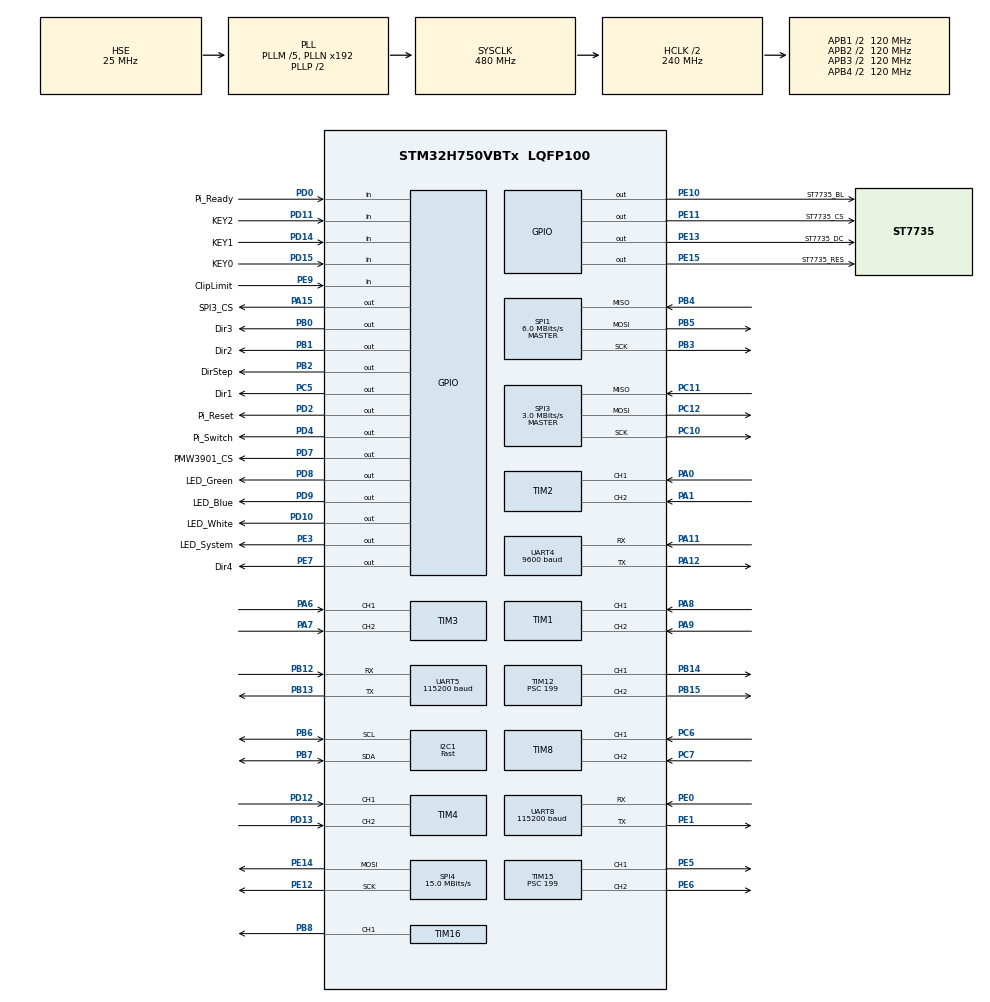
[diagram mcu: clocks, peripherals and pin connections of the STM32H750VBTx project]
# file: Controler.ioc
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CORTEX_M7.AccessPermission_Spec=MPU_REGION_NO_ACCESS
CORTEX_M7.BaseAddress_Spec=0x0
CORTEX_M7.CPU_DCache=Disabled
CORTEX_M7.CPU_ICache=Disabled
CORTEX_M7.DisableExec_Spec=MPU_INSTRUCTION_ACCESS_DISABLE
CORTEX_M7.Enable_S-Cortex_Memory_Protection_Unit_Region10_Settings_S=__NULL
CORTEX_M7.Enable_S-Cortex_Memory_Protection_Unit_Region11_Settings_S=__NULL
CORTEX_M7.Enable_S-Cortex_Memory_Protection_Unit_Region12_Settings_S=__NULL
CORTEX_M7.Enable_S-Cortex_Memory_Protection_Unit_Region13_Settings_S=__NULL
CORTEX_M7.Enable_S-Cortex_Memory_Protection_Unit_Region14_Settings_S=__NULL
CORTEX_M7.Enable_S-Cortex_Memory_Protection_Unit_Region15_Settings_S=__NULL
CORTEX_M7.Enable_S-Cortex_Memory_Protection_Unit_Region1_Settings_S=__NULL
CORTEX_M7.Enable_S-Cortex_Memory_Protection_Unit_Region2_Settings_S=__NULL
CORTEX_M7.Enable_S-Cortex_Memory_Protection_Unit_Region3_Settings_S=__NULL
CORTEX_M7.Enable_S-Cortex_Memory_Protection_Unit_Region4_Settings_S=__NULL
CORTEX_M7.Enable_S-Cortex_Memory_Protection_Unit_Region5_Settings_S=__NULL
CORTEX_M7.Enable_S-Cortex_Memory_Protection_Unit_Region6_Settings_S=__NULL
CORTEX_M7.Enable_S-Cortex_Memory_Protection_Unit_Region7_Settings_S=__NULL
CORTEX_M7.Enable_S-Cortex_Memory_Protection_Unit_Region8_Settings_S=__NULL
CORTEX_M7.Enable_S-Cortex_Memory_Protection_Unit_Region9_Settings_S=__NULL
CORTEX_M7.Enable_Spec=MPU_REGION_ENABLE
CORTEX_M7.IsBufferable_Spec=MPU_ACCESS_NOT_BUFFERABLE
CORTEX_M7.IsCacheable_Spec=MPU_ACCESS_NOT_CACHEABLE
CORTEX_M7.IsShareable_Spec=MPU_ACCESS_SHAREABLE
CORTEX_M7.MPU_Control=MPU_PRIVILEGED_DEFAULT
CORTEX_M7.Size_Spec=MPU_REGION_SIZE_4GB
CORTEX_M7.SubRegionDisable_Spec=0x87
CORTEX_M7.TypeExtField_Spec=MPU_TEX_LEVEL0
CORTEX_M7.default_mode_Activation=1
Dma.Request0=SPI4_TX
Dma.SPI4_TX.0.Direction=DMA_MEMORY_TO_PERIPH
Dma.SPI4_TX.0.EventEnable=DISABLE
Dma.SPI4_TX.0.FIFOMode=DMA_FIFOMODE_DISABLE
Dma.SPI4_TX.0.Instance=DMA1_Stream1
Dma.SPI4_TX.0.MemDataAlignment=DMA_MDATAALIGN_BYTE
Dma.SPI4_TX.0.MemInc=DMA_MINC_ENABLE
Dma.SPI4_TX.0.Mode=DMA_NORMAL
Dma.SPI4_TX.0.PeriphDataAlignment=DMA_PDATAALIGN_BYTE
Dma.SPI4_TX.0.PeriphInc=DMA_PINC_DISABLE
Dma.SPI4_TX.0.Polarity=HAL_DMAMUX_REQ_GEN_RISING
Dma.SPI4_TX.0.Priority=DMA_PRIORITY_LOW
Dma.SPI4_TX.0.RequestNumber=1
Dma.SPI4_TX.0.SignalID=NONE
Dma.SPI4_TX.0.SyncEnable=DISABLE
Dma.SPI4_TX.0.SyncPolarity=HAL_DMAMUX_SYNC_NO_EVENT
Dma.SPI4_TX.0.SyncRequestNumber=1
Dma.SPI4_TX.0.SyncSignalID=NONE
FREERTOS.BinarySemaphores01=bQueuePut,Dynamic,NULL
FREERTOS.Queues01=SensorMessageQueue,16,uint16_t,0,Dynamic,NULL,NULL
FREERTOS.Tasks01=IOcontrol,8,128,IOcontrolEntry,Default,NULL,Dynamic,NULL,NULL;SerialOutput,8,512,SerialOutputEntry,Default,NULL,Dynamic,NULL,NULL;StateMachine,8,512,StateMachineEntry,Default,NULL,Dynamic,NULL,NULL;ScreenRefresh,8,512,ScreenRefreshEntry,Default,NULL,Dynamic,NULL,NULL;SensorHandle,24,256,SensorHandleEntry,Default,NULL,Dynamic,NULL,NULL;InfCalOpticalTa,8,256,InfCalOpticalEntry,Default,NULL,Dynamic,NULL,NULL
FREERTOS.Timers01=KeyTimer,KeyTimerCallback,osTimerPeriodic,Default,NULL,Dynamic,NULL
I2C1.AddressingMode=I2C_ADDRESSINGMODE_7BIT
I2C1.Analog_Filter=I2C_ANALOGFILTER_ENABLE
I2C1.CustomTiming=Disabled
I2C1.DualAddressMode=I2C_DUALADDRESS_DISABLE
I2C1.GeneralCallMode=I2C_GENERALCALL_DISABLE
I2C1.I2C_Coeff_DF=0
I2C1.I2C_Fall_Time=0
I2C1.I2C_Rise_Time=0
I2C1.I2C_Speed_Mode=I2C_Fast
I2C1.NoStretchMode=I2C_NOSTRETCH_DISABLE
I2C1.OwnAddress=0
I2C1.Speed=400
I2C1.Timing=0x00B03FDB
Mcu.Family=STM32H7
Mcu.Name=STM32H750VBTx
Mcu.Package=LQFP100
NVIC.DMA1_Stream1_IRQn=true\:5\:0\:false\:false\:true\:true\:false\:true\:true
NVIC.PriorityGroup=NVIC_PRIORITYGROUP_4
NVIC.SPI4_IRQn=true\:5\:0\:false\:false\:true\:true\:false\:true\:true
NVIC.TIM17_IRQn=true\:15\:0\:false\:false\:true\:false\:true\:true\:true
NVIC.TIM6_DAC_IRQn=true\:5\:0\:false\:false\:true\:true\:true\:true\:true
NVIC.TimeBase=TIM17_IRQn
NVIC.TimeBaseIP=TIM17
NVIC.UART4_IRQn=true\:5\:0\:false\:false\:true\:true\:true\:true\:true
NVIC.UART5_IRQn=true\:5\:0\:false\:false\:true\:true\:true\:true\:true
PA0.Signal=S_TIM2_CH1_ETR
PA1.Signal=S_TIM2_CH2
PA11.Mode=Asynchronous
PA11.Signal=UART4_RX
PA12.Mode=Asynchronous
PA12.Signal=UART4_TX
PA13\ (JTMS/SWDIO).Mode=Serial_Wire
PA13\ (JTMS/SWDIO).Signal=DEBUG_JTMS-SWDIO
PA14\ (JTCK/SWCLK).Mode=Serial_Wire
PA14\ (JTCK/SWCLK).Signal=DEBUG_JTCK-SWCLK
PA15\ (JTDI).GPIO_Label=SPI3_CS
PA15\ (JTDI).Signal=GPIO_Output
PA6.Signal=S_TIM3_CH1
PA7.Signal=S_TIM3_CH2
PA8.Signal=S_TIM1_CH1
PA9.Signal=S_TIM1_CH2
PB0.GPIO_Label=Dir3
PB0.Signal=GPIO_Output
PB1.GPIO_Label=Dir2
PB1.Signal=GPIO_Output
PB12.Mode=Asynchronous
PB12.Signal=UART5_RX
PB13.Mode=Asynchronous
PB13.Signal=UART5_TX
PB14.Signal=S_TIM12_CH1
PB15.Signal=S_TIM12_CH2
PB2.GPIO_Label=DirStep
PB2.Signal=GPIO_Output
PB3\ (JTDO/TRACESWO).GPIO_PuPd=GPIO_PULLUP
PB3\ (JTDO/TRACESWO).GPIO_Speed=GPIO_SPEED_FREQ_VERY_HIGH
PB3\ (JTDO/TRACESWO).Mode=Full_Duplex_Master
PB3\ (JTDO/TRACESWO).Signal=SPI1_SCK
PB4\ (NJTRST).GPIO_PuPd=GPIO_PULLUP
PB4\ (NJTRST).GPIO_Speed=GPIO_SPEED_FREQ_VERY_HIGH
PB4\ (NJTRST).Mode=Full_Duplex_Master
PB4\ (NJTRST).Signal=SPI1_MISO
PB5.GPIO_PuPd=GPIO_PULLUP
PB5.GPIO_Speed=GPIO_SPEED_FREQ_VERY_HIGH
PB5.Mode=Full_Duplex_Master
PB5.Signal=SPI1_MOSI
PB6.Mode=I2C
PB6.Signal=I2C1_SCL
PB7.Mode=I2C
PB7.Signal=I2C1_SDA
PB8.Signal=S_TIM16_CH1
PC10.GPIO_Mode=GPIO_MODE_AF_PP
PC10.GPIO_PuPd=GPIO_PULLUP
PC10.GPIO_Speed=GPIO_SPEED_FREQ_VERY_HIGH
PC10.Mode=Full_Duplex_Master
PC10.Signal=SPI3_SCK
PC11.GPIO_PuPd=GPIO_PULLUP
PC11.GPIO_Speed=GPIO_SPEED_FREQ_VERY_HIGH
PC11.Mode=Full_Duplex_Master
PC11.Signal=SPI3_MISO
PC12.GPIO_PuPd=GPIO_PULLUP
PC12.GPIO_Speed=GPIO_SPEED_FREQ_VERY_HIGH
PC12.Mode=Full_Duplex_Master
PC12.Signal=SPI3_MOSI
PC5.GPIO_Label=Dir1
PC5.Signal=GPIO_Output
PC6.Signal=S_TIM8_CH1
PC7.Signal=S_TIM8_CH2
PD0.GPIO_Label=Pi_Ready
PD0.Signal=GPIO_Input
PD10.GPIO_Label=LED_White
PD10.Signal=GPIO_Output
PD11.GPIO_Label=KEY2
PD11.GPIO_PuPd=GPIO_PULLUP
PD11.Signal=GPIO_Input
PD12.Signal=S_TIM4_CH1
PD13.Signal=S_TIM4_CH2
PD14.GPIO_Label=KEY1
PD14.GPIO_PuPd=GPIO_PULLUP
PD14.Signal=GPIO_Input
PD15.GPIO_Label=KEY0
PD15.GPIO_PuPd=GPIO_PULLUP
PD15.Signal=GPIO_Input
PD2.GPIO_Label=Pi_Reset
PD2.GPIO_PuPd=GPIO_PULLDOWN
PD2.Signal=GPIO_Output
PD4.GPIO_Label=Pi_Switch
PD4.GPIO_PuPd=GPIO_PULLDOWN
PD4.Signal=GPIO_Output
PD7.GPIO_Label=PMW3901_CS
PD7.Signal=GPIO_Output
PD8.GPIO_Label=LED_Green
PD8.Signal=GPIO_Output
PD9.GPIO_Label=LED_Blue
PD9.Signal=GPIO_Output
PE0.Mode=Asynchronous
PE0.Signal=UART8_RX
PE1.Mode=Asynchronous
PE1.Signal=UART8_TX
PE10.GPIO_Label=ST7735_BL
PE10.Signal=GPIO_Output
PE11.GPIO_Label=ST7735_CS
PE11.Signal=GPIO_Output
PE12.GPIO_PuPd=GPIO_PULLUP
PE12.GPIO_Speed=GPIO_SPEED_FREQ_LOW
PE12.Mode=TX_Only_Simplex_Unidirect_Master
PE12.Signal=SPI4_SCK
PE13.GPIO_Label=ST7735_DC
PE13.Signal=GPIO_Output
PE14.GPIO_PuPd=GPIO_PULLUP
PE14.GPIO_Speed=GPIO_SPEED_FREQ_LOW
PE14.Mode=TX_Only_Simplex_Unidirect_Master
PE14.Signal=SPI4_MOSI
PE15.GPIO_Label=ST7735_RES
PE15.Signal=GPIO_Output
PE3.GPIO_Label=LED_System
PE3.Signal=GPIO_Output
PE5.Signal=S_TIM15_CH1
PE6.Signal=S_TIM15_CH2
PE7.GPIO_Label=Dir4
PE7.Signal=GPIO_Output
PE9.GPIO_Label=ClipLimit
PE9.GPIO_PuPd=GPIO_PULLDOWN
PE9.Signal=GPIO_Input
PH0-OSC_IN\ (PH0).Mode=HSE-External-Oscillator
PH0-OSC_IN\ (PH0).Signal=RCC_OSC_IN
PH1-OSC_OUT\ (PH1).Mode=HSE-External-Oscillator
PH1-OSC_OUT\ (PH1).Signal=RCC_OSC_OUT
ProjectManager.HeapSize=0x200
ProjectManager.StackSize=0x400
ProjectManager.TargetToolchain=STM32CubeIDE
RCC.ADCFreq_Value=50390625
RCC.APB1Freq_Value=120000000
RCC.APB2Freq_Value=120000000
RCC.APB3Freq_Value=120000000
RCC.APB4Freq_Value=120000000
RCC.CortexFreq_Value=480000000
RCC.D1PPRE=RCC_APB3_DIV2
RCC.D2PPRE1=RCC_APB1_DIV2
RCC.D2PPRE2=RCC_APB2_DIV2
RCC.D3PPRE=RCC_APB4_DIV2
RCC.DIVM1=5
RCC.DIVN1=192
RCC.DIVQ1=5
RCC.FLatency=FLASH_LATENCY_4
RCC.HCLKFreq_Value=240000000
RCC.HPRE=RCC_HCLK_DIV2
RCC.PLL1_VCI_Range=RCC_PLL1VCIRANGE_2
RCC.PLL2FRACN=0
RCC.PLL3FRACN=0
RCC.PLLFRACN=0
RCC.PLLSourceVirtual=RCC_PLLSOURCE_HSE
RCC.PWR_Regulator_Voltage_Scale=PWR_REGULATOR_VOLTAGE_SCALE0
RCC.SYSCLKFreq_VALUE=480000000
RCC.SYSCLKSource=RCC_SYSCLKSOURCE_PLLCLK
RCC.USBFreq_Value=192000000
SH.S_TIM12_CH1.0=TIM12_CH1,PWM Generation1 CH1
SH.S_TIM12_CH2.0=TIM12_CH2,PWM Generation2 CH2
SH.S_TIM15_CH1.0=TIM15_CH1,PWM Generation1 CH1
SH.S_TIM15_CH2.0=TIM15_CH2,PWM Generation2 CH2
SH.S_TIM16_CH1.0=TIM16_CH1,PWM Generation1 CH1
SH.S_TIM1_CH1.0=TIM1_CH1,Encoder_Interface
SH.S_TIM1_CH2.0=TIM1_CH2,Encoder_Interface
SH.S_TIM2_CH1_ETR.0=TIM2_CH1,Encoder_Interface
SH.S_TIM2_CH2.0=TIM2_CH2,Encoder_Interface
SH.S_TIM3_CH1.0=TIM3_CH1,Encoder_Interface
SH.S_TIM3_CH2.0=TIM3_CH2,Encoder_Interface
SH.S_TIM4_CH1.0=TIM4_CH1,Encoder_Interface
SH.S_TIM4_CH2.0=TIM4_CH2,Encoder_Interface
SH.S_TIM8_CH1.0=TIM8_CH1,Encoder_Interface
SH.S_TIM8_CH2.0=TIM8_CH2,Encoder_Interface
SPI1.BaudRatePrescaler=SPI_BAUDRATEPRESCALER_32
SPI1.CLKPhase=SPI_PHASE_2EDGE
SPI1.CLKPolarity=SPI_POLARITY_HIGH
SPI1.CalculateBaudRate=6.0 MBits/s
SPI1.DataSize=SPI_DATASIZE_8BIT
SPI1.Direction=SPI_DIRECTION_2LINES
SPI1.Mode=SPI_MODE_MASTER
SPI1.VirtualType=VM_MASTER
SPI3.BaudRatePrescaler=SPI_BAUDRATEPRESCALER_64
SPI3.CLKPhase=SPI_PHASE_2EDGE
SPI3.CLKPolarity=SPI_POLARITY_HIGH
SPI3.CRCCalculation=SPI_CRCCALCULATION_DISABLE
SPI3.CalculateBaudRate=3.0 MBits/s
SPI3.DataSize=SPI_DATASIZE_8BIT
SPI3.Direction=SPI_DIRECTION_2LINES
SPI3.FifoThreshold=SPI_FIFO_THRESHOLD_01DATA
SPI3.FirstBit=SPI_FIRSTBIT_MSB
SPI3.IOSwap=SPI_IO_SWAP_DISABLE
SPI3.MasterInterDataIdleness=SPI_MASTER_INTERDATA_IDLENESS_00CYCLE
SPI3.MasterKeepIOState=SPI_MASTER_KEEP_IO_STATE_ENABLE
SPI3.MasterReceiverAutoSusp=SPI_MASTER_RX_AUTOSUSP_DISABLE
SPI3.MasterSSIdleness=SPI_MASTER_SS_IDLENESS_00CYCLE
SPI3.Mode=SPI_MODE_MASTER
SPI3.NSS=SPI_NSS_SOFT
SPI3.NSSPMode=SPI_NSS_PULSE_ENABLE
SPI3.NSSPolarity=SPI_NSS_POLARITY_LOW
SPI3.RxCRCInitializationPattern=SPI_CRC_INITIALIZATION_ALL_ZERO_PATTERN
SPI3.TIMode=SPI_TIMODE_DISABLE
SPI3.TxCRCInitializationPattern=SPI_CRC_INITIALIZATION_ALL_ZERO_PATTERN
SPI3.VirtualType=VM_MASTER
SPI4.BaudRatePrescaler=SPI_BAUDRATEPRESCALER_8
SPI4.CLKPhase=SPI_PHASE_2EDGE
SPI4.CLKPolarity=SPI_POLARITY_HIGH
SPI4.CalculateBaudRate=15.0 MBits/s
SPI4.DataSize=SPI_DATASIZE_8BIT
SPI4.Direction=SPI_DIRECTION_2LINES_TXONLY
SPI4.MasterKeepIOState=SPI_MASTER_KEEP_IO_STATE_ENABLE
SPI4.Mode=SPI_MODE_MASTER
SPI4.VirtualType=VM_MASTER
TIM12.Channel-PWM\ Generation1\ CH1=TIM_CHANNEL_1
TIM12.Channel-PWM\ Generation2\ CH2=TIM_CHANNEL_2
TIM12.Period=99
TIM12.Prescaler=199
TIM15.Channel-PWM\ Generation1\ CH1=TIM_CHANNEL_1
TIM15.Channel-PWM\ Generation2\ CH2=TIM_CHANNEL_2
TIM15.Period=99
TIM15.Prescaler=199
TIM16.Channel=TIM_CHANNEL_1
TIM16.Period=99
TIM16.Prescaler=199
TIM6.AutoReloadPreload=TIM_AUTORELOAD_PRELOAD_ENABLE
TIM6.Period=999
TIM6.Prescaler=239
TIM8.EncoderMode=TIM_ENCODERMODE_TI1
UART4.AutoBaudRateEnableParam=UART_ADVFEATURE_AUTOBAUDRATE_DISABLE
UART4.BaudRate=9600
UART4.ClockPrescaler=PRESCALER_DIV1
UART4.DMADisableonRxErrorParam=UART_ADVFEATURE_DMA_ENABLEONRXERROR
UART4.DataInvertParam=UART_ADVFEATURE_DATAINV_DISABLE
UART4.FIFOMode=FIFOMODE_ENABLE
UART4.MSBFirstParam=UART_ADVFEATURE_MSBFIRST_DISABLE
UART4.Mode=MODE_TX_RX
UART4.OneBitSampling=UART_ONE_BIT_SAMPLE_DISABLE
UART4.OverSampling=UART_OVERSAMPLING_16
UART4.OverrunDisableParam=UART_ADVFEATURE_OVERRUN_ENABLE
UART4.Parity=PARITY_NONE
UART4.RXFIFOThreshold=RXFIFO_THRESHOLD_1EIGHTHFULL
UART4.RxPinLevelInvertParam=UART_ADVFEATURE_RXINV_DISABLE
UART4.StopBits=UART_STOPBITS_1
UART4.SwapParam=UART_ADVFEATURE_SWAP_DISABLE
UART4.TXFIFOThreshold=TXFIFO_THRESHOLD_1EIGHTHFULL
UART4.TxPinLevelInvertParam=UART_ADVFEATURE_TXINV_DISABLE
UART4.WordLength=WORDLENGTH_8B
UART5.AutoBaudRateEnableParam=UART_ADVFEATURE_AUTOBAUDRATE_DISABLE
UART5.BaudRate=115200
UART5.ClockPrescaler=PRESCALER_DIV1
UART5.DMADisableonRxErrorParam=UART_ADVFEATURE_DMA_ENABLEONRXERROR
UART5.DataInvertParam=UART_ADVFEATURE_DATAINV_DISABLE
UART5.FIFOMode=FIFOMODE_DISABLE
UART5.MSBFirstParam=UART_ADVFEATURE_MSBFIRST_DISABLE
UART5.Mode=MODE_TX_RX
UART5.OneBitSampling=UART_ONE_BIT_SAMPLE_DISABLE
UART5.OverSampling=UART_OVERSAMPLING_16
UART5.OverrunDisableParam=UART_ADVFEATURE_OVERRUN_ENABLE
UART5.Parity=PARITY_NONE
UART5.RXFIFOThreshold=RXFIFO_THRESHOLD_1EIGHTHFULL
UART5.RxPinLevelInvertParam=UART_ADVFEATURE_RXINV_DISABLE
UART5.StopBits=UART_STOPBITS_1
UART5.SwapParam=UART_ADVFEATURE_SWAP_DISABLE
UART5.TXFIFOThreshold=TXFIFO_THRESHOLD_1EIGHTHFULL
UART5.TxPinLevelInvertParam=UART_ADVFEATURE_TXINV_DISABLE
UART5.WordLength=WORDLENGTH_8B
UART8.AutoBaudRateEnableParam=UART_ADVFEATURE_AUTOBAUDRATE_DISABLE
UART8.BaudRate=115200
UART8.ClockPrescaler=PRESCALER_DIV1
UART8.DMADisableonRxErrorParam=UART_ADVFEATURE_DMA_ENABLEONRXERROR
UART8.DataInvertParam=UART_ADVFEATURE_DATAINV_DISABLE
UART8.FIFOMode=FIFOMODE_DISABLE
UART8.MSBFirstParam=UART_ADVFEATURE_MSBFIRST_DISABLE
UART8.Mode=MODE_TX_RX
UART8.OneBitSampling=UART_ONE_BIT_SAMPLE_DISABLE
UART8.OverSampling=UART_OVERSAMPLING_16
UART8.OverrunDisableParam=UART_ADVFEATURE_OVERRUN_ENABLE
UART8.Parity=PARITY_NONE
UART8.RXFIFOThreshold=RXFIFO_THRESHOLD_1EIGHTHFULL
UART8.RxPinLevelInvertParam=UART_ADVFEATURE_RXINV_DISABLE
UART8.StopBits=UART_STOPBITS_1
UART8.SwapParam=UART_ADVFEATURE_SWAP_DISABLE
UART8.TXFIFOThreshold=TXFIFO_THRESHOLD_1EIGHTHFULL
UART8.TxPinLevelInvertParam=UART_ADVFEATURE_TXINV_DISABLE
UART8.WordLength=WORDLENGTH_8B
VP_FREERTOS_VS_CMSIS_V2.Mode=CMSIS_V2
VP_SYS_VS_tim17.Mode=TIM17
VP_TIM12_VS_ClockSourceINT.Mode=Internal
VP_TIM15_VS_ClockSourceINT.Mode=Internal
VP_TIM16_VS_ClockSourceINT.Mode=Enable_Timer
VP_TIM6_VS_ClockSourceINT.Mode=Enable_Timer
board=custom

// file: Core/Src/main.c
/* USER CODE BEGIN Header */
/**
  ******************************************************************************
  * @file           : main.c
  * @brief          : Main program body
  ******************************************************************************
  * @attention
  *
  * Copyright (c) 2022 STMicroelectronics.
  * All rights reserved.
  *
  * This software is licensed under terms that can be found in the LICENSE file
  * in the root directory of this software component.
  * If no LICENSE file comes with this software, it is provided AS-IS.
  *
  ******************************************************************************
  */
/* USER CODE END Header */
#include "main.h"
#include "cmsis_os.h"
#include "dma.h"
#include "i2c.h"
#include "spi.h"
#include "tim.h"
#include "usart.h"
#include "gpio.h"

/* USER CODE BEGIN Includes */
#include "move.h"
#include "motor.h"
#include "utils.h"
#include "printf.h"
#include "PID/pid.h"
#include "imuFusion/imuFusion.h"
#include "LobotSerialServo/LobotSerialServo.h"
#include "utils.h"
/* USER CODE END Includes */

/* USER CODE BEGIN PV */

//Shell variables
char shBuff[256];
char chBuff;
int slot = 0;

extern uint8_t data_recv;
/* USER CODE END PV */

void SystemClock_Config(void);
static void MPU_Config(void);
void MX_FREERTOS_Init(void);
/* USER CODE BEGIN PFP */
void _putchar(char character) {
    HAL_UART_Transmit(&huart5, (uint8_t *) &character, 1, HAL_MAX_DELAY);
}

extern short uart_charPut(char *data, unsigned short len);
/* USER CODE END PFP */

int main(void)
{

  /* MPU Configuration--------------------------------------------------------*/
  MPU_Config();

  /* MCU Configuration--------------------------------------------------------*/

  /* Reset of all peripherals, Initializes the Flash interface and the Systick. */
  HAL_Init();

  /* Configure the system clock */
  SystemClock_Config();

  /* Initialize all configured peripherals */
  MX_GPIO_Init();
  MX_DMA_Init();
  MX_SPI3_Init();
  MX_UART5_Init();
  MX_UART8_Init();
  MX_I2C1_Init();
  MX_UART4_Init();
  MX_TIM2_Init();
  MX_TIM4_Init();
  MX_TIM16_Init();
  MX_TIM3_Init();
  MX_SPI4_Init();
  MX_TIM1_Init();
  MX_TIM8_Init();
  MX_SPI1_Init();
  MX_TIM15_Init();
  MX_TIM6_Init();
  MX_TIM12_Init();
  /* USER CODE BEGIN 2 */

    // Encoders initialization
    HAL_TIM_Encoder_Start(&htim1, TIM_CHANNEL_1);
    HAL_TIM_Encoder_Start(&htim1, TIM_CHANNEL_2);
    HAL_TIM_Encoder_Start(&htim2, TIM_CHANNEL_1);
    HAL_TIM_Encoder_Start(&htim2, TIM_CHANNEL_2);
    HAL_TIM_Encoder_Start(&htim3, TIM_CHANNEL_1);
    HAL_TIM_Encoder_Start(&htim3, TIM_CHANNEL_2);
    HAL_TIM_Encoder_Start(&htim4, TIM_CHANNEL_1);
    HAL_TIM_Encoder_Start(&htim4, TIM_CHANNEL_2);
    HAL_TIM_Encoder_Start(&htim8, TIM_CHANNEL_1);
    HAL_TIM_Encoder_Start(&htim8, TIM_CHANNEL_2);

    // Motors initialization
    HAL_TIM_PWM_Start(&htim12, TIM_CHANNEL_1);
    HAL_TIM_PWM_Start(&htim12, TIM_CHANNEL_2);
    HAL_TIM_PWM_Start(&htim15, TIM_CHANNEL_1);
    HAL_TIM_PWM_Start(&htim15, TIM_CHANNEL_2);
    HAL_TIM_PWM_Start(&htim16, TIM_CHANNEL_1);

    // Guide motor initialization
    PID_Init(&CarInfo.msPid[4], 8, 0.45f, 0);//0, 0.2, 0,
    PID_Init(&CarInfo.mpPid[4], 0.15f, 0, 0);// 0.033, 0, 0,

    // Wait for peripherals to be powered
    HAL_Delay(1000);

    //Serial shell initialization
    shell.write = uart_charPut;
    shellInit(&shell, shBuff, 256);

    //Interrupt initialization
    HAL_TIM_Base_Start_IT(&htim6);
    HAL_UART_Receive_IT(&huart5, (uint8_t *) &chBuff, 1);
    HAL_UART_Receive_IT(&huart4,&data_recv,1);

    //Clip initialization
    CarInfo.mpPid[4].ctr.aim = -10000;
    while (CarInfo.mpPid[4].ctr.aim != TopHeight);
    HAL_Delay(300);

    SupportRotation(Store_Angle, 500);
//    SupportRotation(Ground_Angle, 500);
    ClipRotition(CLIP_CLOSE, 700);
    StoreRotation(SecondDegree);

    //TODO:位置环测试用PID
    for (int i = 0; i < 4; i++) {
        PID_Init(&CarInfo.msPid[i], 8, 0.45f, 0);//0, 0.2, 0,
        PID_Init(&CarInfo.mpPid[i], 0.15f, 0, 0);// 0.033, 0, 0,
    }

    PID_Init(&CarInfo.cpPidX, 0.8f, 0, 0);
    PID_Init(&CarInfo.cpPidY, 0.8f, 0, 0);
    PID_Init(&CarInfo.avPid, 0.2f, 0.005f, 0);
    PID_Init(&CarInfo.aPid, 10, 0, 0);

    CarInfo.spdX = 0;
    CarInfo.spdY = 0;

    CarInfo.Start_State = true;

  /* USER CODE END 2 */

  /* Init scheduler */
  osKernelInitialize();  /* Call init function for freertos objects (in freertos.c) */
  MX_FREERTOS_Init();

  /* Start scheduler */
  osKernelStart();
  /* We should never get here as control is now taken by the scheduler */
  /* Infinite loop */
  /* USER CODE BEGIN WHILE */
    while (1) {
        if(slot != 0){
            MaterialPutFromHAL(slot,false);
            MaterialGetFromHAL(slot);
            slot = 0;
        }
    /* USER CODE END WHILE */

    }
}

void SystemClock_Config(void)
{
  RCC_OscInitTypeDef RCC_OscInitStruct = {0};
  RCC_ClkInitTypeDef RCC_ClkInitStruct = {0};

  /** Supply configuration update enable
  */
  HAL_PWREx_ConfigSupply(PWR_LDO_SUPPLY);

  /** Configure the main internal regulator output voltage
  */
  __HAL_PWR_VOLTAGESCALING_CONFIG(PWR_REGULATOR_VOLTAGE_SCALE0);

  while(!__HAL_PWR_GET_FLAG(PWR_FLAG_VOSRDY)) {}

  /** Initializes the RCC Oscillators according to the specified parameters
  * in the RCC_OscInitTypeDef structure.
  */
  RCC_OscInitStruct.OscillatorType = RCC_OSCILLATORTYPE_HSE;
  RCC_OscInitStruct.HSEState = RCC_HSE_ON;
  RCC_OscInitStruct.PLL.PLLState = RCC_PLL_ON;
  RCC_OscInitStruct.PLL.PLLSource = RCC_PLLSOURCE_HSE;
  RCC_OscInitStruct.PLL.PLLM = 5;
  RCC_OscInitStruct.PLL.PLLN = 192;
  RCC_OscInitStruct.PLL.PLLP = 2;
  RCC_OscInitStruct.PLL.PLLQ = 5;
  RCC_OscInitStruct.PLL.PLLR = 2;
  RCC_OscInitStruct.PLL.PLLRGE = RCC_PLL1VCIRANGE_2;
  RCC_OscInitStruct.PLL.PLLVCOSEL = RCC_PLL1VCOWIDE;
  RCC_OscInitStruct.PLL.PLLFRACN = 0;
  if (HAL_RCC_OscConfig(&RCC_OscInitStruct) != HAL_OK)
  {
    Error_Handler();
  }

  /** Initializes the CPU, AHB and APB buses clocks
  */
  RCC_ClkInitStruct.ClockType = RCC_CLOCKTYPE_HCLK|RCC_CLOCKTYPE_SYSCLK
                              |RCC_CLOCKTYPE_PCLK1|RCC_CLOCKTYPE_PCLK2
                              |RCC_CLOCKTYPE_D3PCLK1|RCC_CLOCKTYPE_D1PCLK1;
  RCC_ClkInitStruct.SYSCLKSource = RCC_SYSCLKSOURCE_PLLCLK;
  RCC_ClkInitStruct.SYSCLKDivider = RCC_SYSCLK_DIV1;
  RCC_ClkInitStruct.AHBCLKDivider = RCC_HCLK_DIV2;
  RCC_ClkInitStruct.APB3CLKDivider = RCC_APB3_DIV2;
  RCC_ClkInitStruct.APB1CLKDivider = RCC_APB1_DIV2;
  RCC_ClkInitStruct.APB2CLKDivider = RCC_APB2_DIV2;
  RCC_ClkInitStruct.APB4CLKDivider = RCC_APB4_DIV2;

  if (HAL_RCC_ClockConfig(&RCC_ClkInitStruct, FLASH_LATENCY_4) != HAL_OK)
  {
    Error_Handler();
  }
}

/* MPU Configuration */

void MPU_Config(void)
{
  MPU_Region_InitTypeDef MPU_InitStruct = {0};

  /* Disables the MPU */
  HAL_MPU_Disable();

  /** Initializes and configures the Region and the memory to be protected
  */
  MPU_InitStruct.Enable = MPU_REGION_ENABLE;
  MPU_InitStruct.Number = MPU_REGION_NUMBER0;
  MPU_InitStruct.BaseAddress = 0x0;
  MPU_InitStruct.Size = MPU_REGION_SIZE_4GB;
  MPU_InitStruct.SubRegionDisable = 0x87;
  MPU_InitStruct.TypeExtField = MPU_TEX_LEVEL0;
  MPU_InitStruct.AccessPermission = MPU_REGION_NO_ACCESS;
  MPU_InitStruct.DisableExec = MPU_INSTRUCTION_ACCESS_DISABLE;
  MPU_InitStruct.IsShareable = MPU_ACCESS_SHAREABLE;
  MPU_InitStruct.IsCacheable = MPU_ACCESS_NOT_CACHEABLE;
  MPU_InitStruct.IsBufferable = MPU_ACCESS_NOT_BUFFERABLE;

  HAL_MPU_ConfigRegion(&MPU_InitStruct);
  /* Enables the MPU */
  HAL_MPU_Enable(MPU_PRIVILEGED_DEFAULT);

}

void HAL_TIM_PeriodElapsedCallback(TIM_HandleTypeDef *htim)
{
  /* USER CODE BEGIN Callback 0 */

    //1kHz interrupt
    if (htim->Instance == TIM6) {
        static int16_t preCNT[5];

        // Check Clip limit
        if (HAL_GPIO_ReadPin(ClipLimit_GPIO_Port, ClipLimit_Pin) == GPIO_PIN_SET) {
            PID_Reset(&CarInfo.mpPid[4]);
            PID_Reset(&CarInfo.msPid[4]);
            CarInfo.psi[4] = 0;
            CarInfo.mpPid[4].ctr.aim = TopHeight;
        }

        static int cnt = 0;
        const int period = 10;
        //100Hz interrupt
        if (++cnt == period) {
            cnt = 0;

            // Get motor speed
            for (int16_t i = 0; i < 5; i++) {
                TIM_TypeDef *TIMptr[5] = {TIM8, TIM1, TIM4, TIM2, TIM3};
                int16_t res = 0;
                if (i == 1 || i == 2 || i == 3)
                    CarInfo.spd[i] = -1 * ((int16_t) (TIMptr[i]->CNT) - preCNT[i]);
                else
                    CarInfo.spd[i] = (int16_t) ((TIMptr[i]->CNT) - preCNT[i]);
                preCNT[i] = (int16_t) (TIMptr[i]->CNT);
            }

            // Get Motor Position
            for (int i = 0; i < 5; i++)
                CarInfo.psi[i] += (float)CarInfo.spd[i];

            // Map PID
            if (CarInfo.cPsiCtr && !CarInfo.mPsiCtr) {
                Slew_Func(&CarInfo.cpPidY.ctr.aim,CarInfo.tarY,0.6f);
                Slew_Func(&CarInfo.cpPidX.ctr.aim,CarInfo.tarX,0.6f);

                CarInfo.spdX = PID_Realize(&CarInfo.cpPidX, CarInfo.curX);
                CarInfo.spdY = PID_Realize(&CarInfo.cpPidY, CarInfo.curY);

                //Output dead band
                CarInfo.spdX = (fabs(CarInfo.spdX) < 1.6) ? 0 : CarInfo.spdX;
                CarInfo.spdY = (fabs(CarInfo.spdY) < 1.6) ? 0 : CarInfo.spdY;

//                Slew_Func(&CarInfo.spdX,CarInfo.spdX,0.2f);
//                Slew_Func(&CarInfo.spdY,CarInfo.spdY,0.2f);

                //Speed output limit
                int temp = 40;
                CarInfo.spdX = CarInfo.spdX > temp ? temp : CarInfo.spdX < -temp ? -temp : CarInfo.spdX;
                CarInfo.spdY = CarInfo.spdY > temp ? temp : CarInfo.spdY < -temp ? -temp : CarInfo.spdY;

                MapSpeedSet(CarInfo.spdY, CarInfo.spdX);
            }

            CarInfo.psiX+= CarInfo.spdX*0.01f;
            CarInfo.psiY+= CarInfo.spdY*0.01f;

            //Orientation loop
            Slew_Func(&CarInfo.avPidOut,PID_RealizeForAngle(&CarInfo.aPid, CarInfo.yaw),0.2f);

            //Speed limit
            float temp = 20;
            CarInfo.avPidOut = CarInfo.avPidOut > temp ? temp : CarInfo.avPidOut < -temp ? -temp : CarInfo.avPidOut;

            // Motor PID
            for (int i = 0; i < 5; i++) {
                volatile uint8_t dir = 1;

                // Optional position loop for guide motor
                if (i == 4 || CarInfo.mPsiCtr) {
                    CarInfo.spdStep = 0.5f;
                    float *outPtr = &CarInfo.mpPIDout[i];
                    float res = PID_Realize(&CarInfo.mpPid[i], CarInfo.psi[i]);

                    // Limit acceleration
                    if (res > *outPtr && res > 0 && HAL_GPIO_ReadPin(ClipLimit_GPIO_Port, ClipLimit_Pin) == GPIO_PIN_RESET)
                        *outPtr = res - *outPtr > CarInfo.spdStep ? *outPtr + CarInfo.spdStep : *outPtr;
                    else if (res < *outPtr && res < 0 && HAL_GPIO_ReadPin(ClipLimit_GPIO_Port, ClipLimit_Pin) == GPIO_PIN_RESET)
                        *outPtr = *outPtr - res > CarInfo.spdStep ? *outPtr - CarInfo.spdStep : *outPtr;
                    else *outPtr = res;

                    // Limit speed max
                    if (CarInfo.mpPIDout[i] > CarInfo.spdLimit[i])CarInfo.mpPIDout[i] = CarInfo.spdLimit[i];
                    if (CarInfo.mpPIDout[i] < -CarInfo.spdLimit[i])CarInfo.mpPIDout[i] = -CarInfo.spdLimit[i];
                }

                // Merge Motor Position PID and Attitude PID output
                switch (i) {
                    case 1:
                    case 2:
                        CarInfo.msPid[i].ctr.aim =
                                (CarInfo.mPsiCtr ? CarInfo.mpPIDout[i] : CarInfo.spdAim[i]) + CarInfo.avPidOut;
                        break;
                    case 0:
                    case 3:
                        CarInfo.msPid[i].ctr.aim =
                                (CarInfo.mPsiCtr ? CarInfo.mpPIDout[i] : CarInfo.spdAim[i]) - CarInfo.avPidOut;
                        break;
                    case 4:
                        CarInfo.msPid[i].ctr.aim = CarInfo.mpPIDout[i];
                        break;
                }

                // Motor Speed Loop
                float duty = PID_Realize(&CarInfo.msPid[i], (float) CarInfo.spd[i]);
                if (duty < 0) {
                    duty = -duty;
                    dir = 0;
                }
                Motor_Drive(i, duty, dir);
            }

            // Judge whether the car is static
            if (CarInfo.spd[0] != 0
                && CarInfo.spd[1] != 0
                && CarInfo.spd[2] != 0
                && CarInfo.spd[3] != 0)
                CarInfo.isCarMoving = CarInfo.isCarMoving << 1 | 1;
            else
                CarInfo.isCarMoving = CarInfo.isCarMoving << 1;
        }
    }
  /* USER CODE END Callback 0 */
  if (htim->Instance == TIM17) {
    HAL_IncTick();
  }
}

void Error_Handler(void)
{
    __disable_irq();
    while (1) {
    }
}

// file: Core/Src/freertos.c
/* USER CODE BEGIN Header */
/**
  ******************************************************************************
  * File Name          : freertos.c
  * Description        : Code for freertos applications
  ******************************************************************************
  * @attention
  *
  * Copyright (c) 2022 STMicroelectronics.
  * All rights reserved.
  *
  * This software is licensed under terms that can be found in the LICENSE file
  * in the root directory of this software component.
  * If no LICENSE file comes with this software, it is provided AS-IS.
  *
  ******************************************************************************
  */
/* USER CODE END Header */

#include "FreeRTOS.h"
#include "task.h"
#include "main.h"
#include "cmsis_os.h"

/* USER CODE BEGIN Includes */
#include "utils.h"
#include "printf.h"
#include "Compass/QMC5883L.h"
#include "ST7735-HAL/st7735.h"
#include "LobotSerialServo/LobotSerialServo.h"
#include "Filter/filter.h"
/* USER CODE END Includes */

/* Definitions for IOcontrol */
osThreadId_t IOcontrolHandle;
const osThreadAttr_t IOcontrol_attributes = {
  .name = "IOcontrol",
  .stack_size = 128 * 4,
  .priority = (osPriority_t) osPriorityLow,
};
/* Definitions for SerialOutput */
osThreadId_t SerialOutputHandle;
const osThreadAttr_t SerialOutput_attributes = {
  .name = "SerialOutput",
  .stack_size = 512 * 4,
  .priority = (osPriority_t) osPriorityLow,
};
/* Definitions for StateMachine */
osThreadId_t StateMachineHandle;
const osThreadAttr_t StateMachine_attributes = {
  .name = "StateMachine",
  .stack_size = 512 * 4,
  .priority = (osPriority_t) osPriorityLow,
};
/* Definitions for ScreenRefresh */
osThreadId_t ScreenRefreshHandle;
const osThreadAttr_t ScreenRefresh_attributes = {
  .name = "ScreenRefresh",
  .stack_size = 512 * 4,
  .priority = (osPriority_t) osPriorityLow,
};
/* Definitions for SensorHandle */
osThreadId_t SensorHandleHandle;
const osThreadAttr_t SensorHandle_attributes = {
  .name = "SensorHandle",
  .stack_size = 256 * 4,
  .priority = (osPriority_t) osPriorityNormal,
};
/* Definitions for InfCalOpticalTa */
osThreadId_t InfCalOpticalTaHandle;
const osThreadAttr_t InfCalOpticalTa_attributes = {
  .name = "InfCalOpticalTa",
  .stack_size = 256 * 4,
  .priority = (osPriority_t) osPriorityLow,
};
/* Definitions for SensorMessageQueue */
osMessageQueueId_t SensorMessageQueueHandle;
const osMessageQueueAttr_t SensorMessageQueue_attributes = {
  .name = "SensorMessageQueue"
};
/* Definitions for KeyTimer */
osTimerId_t KeyTimerHandle;
const osTimerAttr_t KeyTimer_attributes = {
  .name = "KeyTimer"
};
/* Definitions for bQueuePut */
osSemaphoreId_t bQueuePutHandle;
const osSemaphoreAttr_t bQueuePut_attributes = {
  .name = "bQueuePut"
};

/* USER CODE BEGIN FunctionPrototypes */

static void u8ZeroFiller(uint8_t *data);

/* USER CODE END FunctionPrototypes */

void IOcontrolEntry(void *argument);
void SerialOutputEntry(void *argument);
void StateMachineEntry(void *argument);
void ScreenRefreshEntry(void *argument);
void SensorHandleEntry(void *argument);
void InfCalOpticalEntry(void *argument);
void KeyTimerCallback(void *argument);

void MX_FREERTOS_Init(void); /* (MISRA C 2004 rule 8.1) */

void MX_FREERTOS_Init(void) {

  /* Create the semaphores(s) */
  /* creation of bQueuePut */
  bQueuePutHandle = osSemaphoreNew(1, 1, &bQueuePut_attributes);

  /* Create the timer(s) */
  /* creation of KeyTimer */
  KeyTimerHandle = osTimerNew(KeyTimerCallback, osTimerPeriodic, NULL, &KeyTimer_attributes);

  /* Create the queue(s) */
  /* creation of SensorMessageQueue */

  /* Create the thread(s) */
  /* creation of IOcontrol */
  IOcontrolHandle = osThreadNew(IOcontrolEntry, NULL, &IOcontrol_attributes);

  /* creation of SerialOutput */
  SerialOutputHandle = osThreadNew(SerialOutputEntry, NULL, &SerialOutput_attributes);

  /* creation of StateMachine */
  StateMachineHandle = osThreadNew(StateMachineEntry, NULL, &StateMachine_attributes);

}

void IOcontrolEntry(void *argument)
{
  /* USER CODE BEGIN IOcontrolEntry */
    UNUSED(argument);
    /* Infinite loop */
    for (;;) {
        HAL_GPIO_WritePin(LED_System_GPIO_Port, LED_System_Pin, 1);
        osDelay(50);
        HAL_GPIO_WritePin(LED_System_GPIO_Port, LED_System_Pin, 0);
        osDelay(950);
        if (CarInfo.SerialOutputEnable)osThreadResume(SerialOutputHandle);
    }
  /* USER CODE END IOcontrolEntry */
}

void SerialOutputEntry(void *argument)
{
  /* USER CODE BEGIN SerialOutputEntry */
    UNUSED(argument);
    /* Infinite loop */
    for (;;) {
        if (!CarInfo.SerialOutputEnable)osThreadSuspend(SerialOutputHandle);
    }
  /* USER CODE END SerialOutputEntry */
}

void StateMachineEntry(void *argument)
{
  /* USER CODE BEGIN StateMachineEntry */
    UNUSED(argument);
    /* Infinite loop */
    for (;;) {
        if (CarInfo.Start_State) {
            CarInfo.RunMainState();
        }
    }
  /* USER CODE END StateMachineEntry */
}

void ScreenRefreshEntry(void *argument)
{
  /* USER CODE BEGIN ScreenRefreshEntry */
    UNUSED(argument);
    /* Infinite loop */
    for (;;) {
        char buff[64];
        static uint32_t pretick = 0;
        static float psiX = 0, psiY = 0;
        float fps = 1000.0f / (HAL_GetTick() - pretick);

        pretick = HAL_GetTick();
        sprintf(buff, "FPS:%.3f\n", fps);
        LCD_StringLayout(128, buff, Font_7x10, ST7735_BLACK, ST7735_WHITE);

        sprintf(buff, CarInfo.yaw > 0 ? "Yaw: %.3f\n" : "Yaw:%.3f\n", ToDig(CarInfo.yaw));
        LCD_StringLayout(128, buff, Font_11x18, ST7735_BLACK, ST7735_WHITE);

        sprintf(buff, "pmwX:%.3f\n", CarInfo.curX);
        LCD_StringLayout(128, buff, Font_11x18, ST7735_BLACK, ST7735_WHITE);
        sprintf(buff, "pmwY:%.3f\n", CarInfo.curY);
        LCD_StringLayout(128, buff, Font_11x18, ST7735_BLACK, ST7735_WHITE);

        sprintf(buff, "psiX:%.3f\n", CarInfo.psiX);
        LCD_StringLayout(128, buff, Font_11x18, ST7735_BLACK, ST7735_WHITE);
        sprintf(buff, "psiY:%.3f\n", CarInfo.psiY);
        LCD_StringLayout(128, buff, Font_11x18, ST7735_BLACK, ST7735_WHITE);

        // End of page
        LCD_StringLayout(LCD_EOP);
    }
  /* USER CODE END ScreenRefreshEntry */
}

void SensorHandleEntry(void *argument)
{
  /* USER CODE BEGIN SensorHandleEntry */
    UNUSED(argument);
    /* Infinite loop */
    for (;;) {
        static enum SensorType {
            sCompass,
            sGyro,
            sOptical,
        } SensorType;
        static MovingFilter_t gyroFilter = {0};

        switch (SensorType) {
            case sCompass:
                taskENTER_CRITICAL();
                QMC5883_GetData(&CarInfo.hmc);
                VecRotate(CarInfo.hmc.Mx, CarInfo.hmc.My, CarInfo.initYawOffset);

                // Gyro integration to obtain angle
                CarInfo.yaw += ToRad(CarInfo.icm.gz) * 1.2f * 0.001f;

                taskEXIT_CRITICAL();
                break;
            case sGyro:
                taskENTER_CRITICAL();
                ICM42605_GetData(&CarInfo.icm, ICM_MODE_ACC | ICM_MODE_GYRO);
                CarInfo.icm.gz = Filter_MovingAvgf(&gyroFilter, CarInfo.icm.gz) - CarInfo.initGzOffset;
                taskEXIT_CRITICAL();
                break;
            case sOptical:
                taskENTER_CRITICAL();
                PMW3901_Read_Data(&CarInfo.pmw);
                CarInfo.dx = (float) -CarInfo.pmw.deltaX;
                CarInfo.dy = (float) -CarInfo.pmw.deltaY;
                VecRotate(CarInfo.dx, CarInfo.dy, CarInfo.yaw);

                // Recalculate optical confidence for each axis
                float tempDx = fabsf(CarInfo.dx),
                        tempSx = CarInfo.spdX,
                        tempDy = fabsf(CarInfo.dx),
                        tempSy = CarInfo.spdX;
                if (MAX(tempDx, tempSx) != 0) {
                    CarInfo.opticalConfigX = MIN(tempDx, tempSx) / MAX(tempDx, tempSx);
                } else {
                    CarInfo.opticalConfigX = 1;
                }
                if (MAX(tempDy, tempSy) != 0) {
                    CarInfo.opticalConfigY = MIN(tempDy, tempSy) / MAX(tempDy, tempSy);
                } else {
                    CarInfo.opticalConfigY = 1;
                }

                // Fusing optical data and car speed data
                CarInfo.curX += CarInfo.dx * CarInfo.opticalConfigX
                                + (1 - CarInfo.opticalConfigX) * CarInfo.spdX * 0.01f;
                CarInfo.curY += CarInfo.dy * CarInfo.opticalConfigY
                                + (1 - CarInfo.opticalConfigY) * CarInfo.spdY * 0.01f;

                taskEXIT_CRITICAL();
                break;
            default:
                break;
        }
    }
  /* USER CODE END SensorHandleEntry */
}

void InfCalOpticalEntry(void *argument)
{
  /* USER CODE BEGIN InfCalOpticalEntry */
    UNUSED(argument);
    /* Infinite loop */
    for (;;) {
        // Reset Pi
        if (CarInfo.Pi_Reset) {
            CarInfo.Pi_Reset = 0;
            Pi_ResetFromOS();
        }

        osDelay(10);
    }
  /* USER CODE END InfCalOpticalEntry */
}

/* KeyTimerCallback function */
void KeyTimerCallback(void *argument)
{
}
